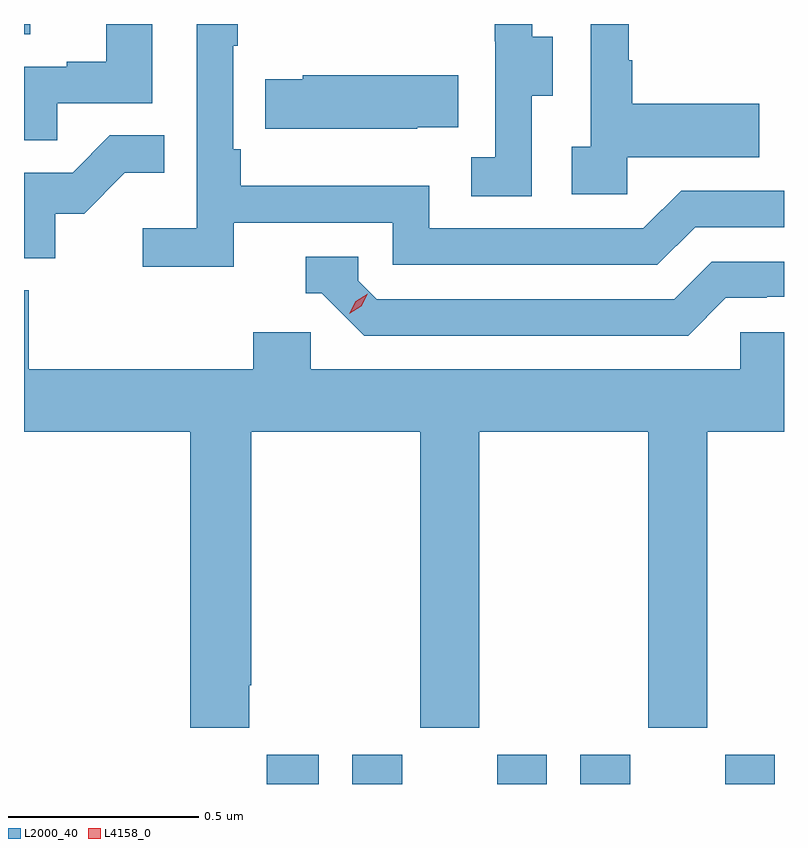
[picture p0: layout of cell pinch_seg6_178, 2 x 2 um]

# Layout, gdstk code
import gdstk
lib = gdstk.Library(unit=1e-6, precision=1e-09)
def R(c, l, rs):  # rectangles x0, y0, x1, y1
    for r in rs: c.add(gdstk.rectangle(r[:2], r[2:], *l))
def P(c, l, *ps):  # polygons
    for p in ps: c.add(gdstk.Polygon(p, *l))
L2000_40 = (2000, 40)
L4158_0 = (4158, 0)

pinch_seg6_178 = lib.new_cell('pinch_seg6_178')
R(pinch_seg6_178, L2000_40, [(1065.107,931.757,1065.244,931.834), (1065.332,931.757,1065.463,931.834), (1065.713,931.757,1065.844,931.834), (1065.932,931.757,1066.063,931.834), (1066.313,931.757,1066.444,931.834), (1064.468,933.73,1064.485,933.757)])
P(pinch_seg6_178, L2000_40, [(1066.056,933.407),(1066.403,933.407),(1066.403,933.547),(1066.069,933.547),(1066.069,933.662),(1066.059,933.662),(1066.059,933.757),(1065.96,933.757),(1065.96,933.434),(1065.909,933.434),(1065.909,933.309),(1066.056,933.309)],
  [(1065.02,933.234),(1065.438,933.234),(1065.438,933.123),(1066.135,933.123),(1066.234,933.222),(1066.468,933.222),(1066.468,933.318),(1066.197,933.318),(1066.098,933.219),(1065.534,933.219),(1065.534,933.331),(1065.038,933.331),(1065.038,933.427),(1065.018,933.427),(1065.018,933.7),(1065.031,933.7),(1065.031,933.757),(1064.922,933.757),(1064.922,933.22),(1064.781,933.22),(1064.781,933.118),(1065.02,933.118)],
  [(1064.555,933.549),(1064.806,933.549),(1064.806,933.757),(1064.684,933.757),(1064.684,933.658),(1064.581,933.658),(1064.581,933.645),(1064.468,933.645),(1064.468,933.451),(1064.555,933.451)],
  [(1065.804,933.568),(1065.859,933.568),(1065.859,933.723),(1065.805,933.723),(1065.805,933.757),(1065.707,933.757),(1065.707,933.711),(1065.708,933.711),(1065.708,933.407),(1065.645,933.407),(1065.645,933.304),(1065.804,933.304)],
  [(1065.503,933.485),(1065.611,933.485),(1065.611,933.622),(1065.201,933.622),(1065.201,933.612),(1065.103,933.612),(1065.103,933.482),(1065.503,933.482)],
  [(1064.55,933.258),(1064.626,933.258),(1064.733,933.365),(1064.837,933.365),(1064.837,933.464),(1064.694,933.464),(1064.596,933.366),(1064.468,933.366),(1064.468,933.141),(1064.55,933.141)],
  [(1066.315,933.036),(1066.422,933.036),(1066.422,933.039),(1066.468,933.039),(1066.468,933.132),(1066.278,933.132),(1066.179,933.033),(1065.396,933.033),(1065.348,933.081),(1065.348,933.144),(1065.209,933.144),(1065.209,933.048),(1065.252,933.048),(1065.363,932.937),(1066.216,932.937)],
  [(1065.061,932.017),(1065.066,932.017),(1065.066,932.684),(1065.511,932.684),(1065.511,931.905),(1065.666,931.905),(1065.666,932.684),(1066.111,932.684),(1066.111,931.905),(1066.266,931.905),(1066.266,932.684),(1066.468,932.684),(1066.468,932.946),(1066.353,932.946),(1066.353,932.848),(1065.222,932.848),(1065.222,932.946),(1065.071,932.946),(1065.071,932.848),(1064.48,932.848),(1064.48,933.056),(1064.468,933.056),(1064.468,932.684),(1064.906,932.684),(1064.906,931.905),(1065.061,931.905)])
P(pinch_seg6_178, L4158_0, [(1065.324,932.995),(1065.324,932.995),(1065.341,933.028),(1065.372,933.047),(1065.372,933.047),(1065.372,933.047),(1065.356,933.014),(1065.324,932.995)])

lib.write_gds('pinch_seg6_178.gds')
